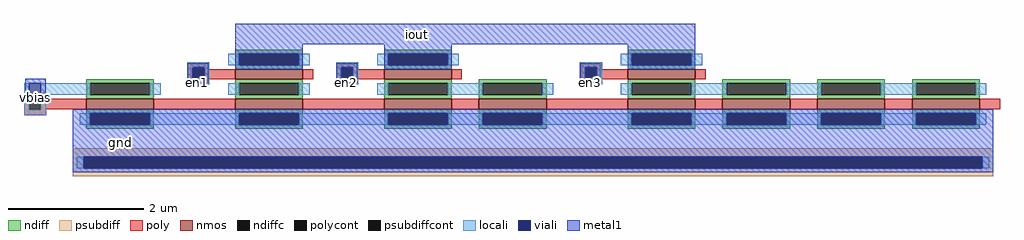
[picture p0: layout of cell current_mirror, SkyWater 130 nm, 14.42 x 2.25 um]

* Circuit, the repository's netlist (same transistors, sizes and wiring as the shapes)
* Schematic netlist for LVS: binary-weighted programmable current mirror
* W=1 L=0.15 for all devices. M1/M5/M6/M7 are m=1; M2/M3/M4 are m=1/2/4.
.subckt current_mirror vbias en1 en2 en3 gnd iout
XM1 vbias vbias gnd gnd sky130_fd_pr__nfet_01v8 w=1 l=0.15 m=1
XM2 n1 vbias gnd gnd sky130_fd_pr__nfet_01v8 w=1 l=0.15 m=1
XM3 n2 vbias gnd gnd sky130_fd_pr__nfet_01v8 w=1 l=0.15 m=2
XM4 n4 vbias gnd gnd sky130_fd_pr__nfet_01v8 w=1 l=0.15 m=4
XM5 iout en1 n1 gnd sky130_fd_pr__nfet_01v8 w=1 l=0.15 m=1
XM6 iout en2 n2 gnd sky130_fd_pr__nfet_01v8 w=1 l=0.15 m=1
XM7 iout en3 n4 gnd sky130_fd_pr__nfet_01v8 w=1 l=0.15 m=1
.ends

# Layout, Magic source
magic
tech sky130A
<< nmos >>
rect 220 73 320 88
rect 440 73 540 88
rect 800 73 900 88
rect 0 29 100 44
rect 220 29 320 44
rect 440 29 540 44
rect 580 29 680 44
rect 800 29 900 44
rect 940 29 1040 44
rect 1080 29 1180 44
rect 1220 29 1320 44
<< ndiff >>
rect 220 111 320 117
rect 220 94 226 111
rect 314 94 320 111
rect 440 111 540 117
rect 220 88 320 94
rect 440 94 446 111
rect 534 94 540 111
rect 800 111 900 117
rect 440 88 540 94
rect 800 94 806 111
rect 894 94 900 111
rect 800 88 900 94
rect 0 67 100 73
rect 0 50 6 67
rect 94 50 100 67
rect 220 67 320 73
rect 0 44 100 50
rect 220 50 226 67
rect 314 50 320 67
rect 440 67 540 73
rect 220 44 320 50
rect 440 50 446 67
rect 534 50 540 67
rect 440 44 540 50
rect 580 67 680 73
rect 580 50 586 67
rect 674 50 680 67
rect 800 67 900 73
rect 580 44 680 50
rect 800 50 806 67
rect 894 50 900 67
rect 800 44 900 50
rect 940 67 1040 73
rect 940 50 946 67
rect 1034 50 1040 67
rect 940 44 1040 50
rect 1080 67 1180 73
rect 1080 50 1086 67
rect 1174 50 1180 67
rect 1080 44 1180 50
rect 1220 67 1320 73
rect 1220 50 1226 67
rect 1314 50 1320 67
rect 1220 44 1320 50
rect 0 23 100 29
rect 0 6 6 23
rect 94 6 100 23
rect 0 0 100 6
rect 220 23 320 29
rect 220 6 226 23
rect 314 6 320 23
rect 220 0 320 6
rect 440 23 540 29
rect 440 6 446 23
rect 534 6 540 23
rect 440 0 540 6
rect 580 23 680 29
rect 580 6 586 23
rect 674 6 680 23
rect 580 0 680 6
rect 800 23 900 29
rect 800 6 806 23
rect 894 6 900 23
rect 800 0 900 6
rect 940 23 1040 29
rect 940 6 946 23
rect 1034 6 1040 23
rect 940 0 1040 6
rect 1080 23 1180 29
rect 1080 6 1086 23
rect 1174 6 1180 23
rect 1080 0 1180 6
rect 1220 23 1320 29
rect 1220 6 1226 23
rect 1314 6 1320 23
rect 1220 0 1320 6
<< ndiffc >>
rect 226 94 314 111
rect 446 94 534 111
rect 806 94 894 111
rect 6 50 94 67
rect 226 50 314 67
rect 446 50 534 67
rect 586 50 674 67
rect 806 50 894 67
rect 946 50 1034 67
rect 1086 50 1174 67
rect 1226 50 1314 67
rect 6 6 94 23
rect 226 6 314 23
rect 446 6 534 23
rect 586 6 674 23
rect 806 6 894 23
rect 946 6 1034 23
rect 1086 6 1174 23
rect 1226 6 1314 23
<< psubdiff >>
rect -20 -41 1340 -29
rect -20 -58 -4 -41
rect 1324 -58 1340 -41
rect -20 -70 1340 -58
<< psubdiffcont >>
rect -4 -58 1324 -41
<< poly >>
rect 149 91 182 98
rect 149 74 157 91
rect 174 88 182 91
rect 369 91 402 98
rect 174 74 220 88
rect 149 73 220 74
rect 320 73 335 88
rect 369 74 377 91
rect 394 88 402 91
rect 729 91 762 98
rect 394 74 440 88
rect 369 73 440 74
rect 540 73 555 88
rect 729 74 737 91
rect 754 88 762 91
rect 754 74 800 88
rect 729 73 800 74
rect 900 73 915 88
rect -92 45 -59 53
rect -92 28 -84 45
rect -67 44 -59 45
rect 149 65 182 73
rect 369 65 402 73
rect 729 65 762 73
rect -67 29 0 44
rect 100 29 220 44
rect 320 29 440 44
rect 540 29 580 44
rect 680 29 800 44
rect 900 29 940 44
rect 1040 29 1080 44
rect 1180 29 1220 44
rect 1320 29 1350 44
rect -67 28 -59 29
rect -92 20 -59 28
<< polycont >>
rect 157 74 174 91
rect 377 74 394 91
rect 737 74 754 91
rect -84 28 -67 45
<< locali >>
rect 149 91 182 98
rect 210 94 226 111
rect 314 94 330 111
rect 149 74 157 91
rect 174 74 182 91
rect -92 50 -84 67
rect -67 50 6 67
rect 94 50 110 67
rect 149 65 182 74
rect 369 91 402 98
rect 430 94 446 111
rect 534 94 550 111
rect 369 74 377 91
rect 394 74 402 91
rect 210 50 226 67
rect 314 50 330 67
rect 369 65 402 74
rect 729 91 762 98
rect 790 94 806 111
rect 894 94 910 111
rect 729 74 737 91
rect 754 74 762 91
rect 430 50 446 67
rect 534 50 586 67
rect 674 50 690 67
rect 729 65 762 74
rect 790 50 806 67
rect 894 50 946 67
rect 1034 50 1086 67
rect 1174 50 1226 67
rect 1314 50 1330 67
rect -92 45 -59 50
rect -92 28 -84 45
rect -67 28 -59 45
rect -92 20 -59 28
rect -10 6 6 23
rect 94 6 226 23
rect 314 6 446 23
rect 534 6 586 23
rect 674 6 806 23
rect 894 6 946 23
rect 1034 6 1086 23
rect 1174 6 1226 23
rect 1314 6 1330 23
rect -14 -58 -4 -41
rect 1324 -58 1334 -41
<< viali >>
rect 226 94 314 111
rect 157 74 174 91
rect -84 50 -67 67
rect 446 94 534 111
rect 377 74 394 91
rect 806 94 894 111
rect 737 74 754 91
rect 6 6 94 23
rect 226 6 314 23
rect 446 6 534 23
rect 586 6 674 23
rect 806 6 894 23
rect 946 6 1034 23
rect 1086 6 1174 23
rect 1226 6 1314 23
rect -4 -58 1324 -41
<< metal1 >>
rect 220 125 900 155
rect 220 111 320 125
rect 150 91 180 97
rect 150 74 157 91
rect 174 74 180 91
rect 220 94 226 111
rect 314 94 320 111
rect 440 111 540 125
rect 220 88 320 94
rect 370 91 400 97
rect -90 67 -60 74
rect 150 67 180 74
rect 370 74 377 91
rect 394 74 400 91
rect 440 94 446 111
rect 534 94 540 111
rect 800 111 900 125
rect 440 88 540 94
rect 730 91 760 97
rect 370 67 400 74
rect 730 74 737 91
rect 754 74 760 91
rect 800 94 806 111
rect 894 94 900 111
rect 800 88 900 94
rect 730 67 760 74
rect -90 50 -84 67
rect -67 50 -60 67
rect -90 43 -60 50
rect -20 23 1340 29
rect -20 6 6 23
rect 94 6 226 23
rect 314 6 446 23
rect 534 6 586 23
rect 674 6 806 23
rect 894 6 946 23
rect 1034 6 1086 23
rect 1174 6 1226 23
rect 1314 6 1340 23
rect -20 -41 1340 6
rect -20 -58 -4 -41
rect 1324 -58 1340 -41
rect -20 -64 1340 -58
<< labels >>
rlabel metal1 -75 46 -75 46 0 vbias
port 1 nsew
rlabel metal1 165 69 165 69 0 en1
port 2 nsew
rlabel metal1 385 69 385 69 0 en2
port 3 nsew
rlabel metal1 745 69 745 69 0 en3
port 4 nsew
rlabel metal1 50 -20 50 -20 0 gnd
port 5 nsew
rlabel metal1 490 140 490 140 0 iout
port 6 nsew
<< end >>
